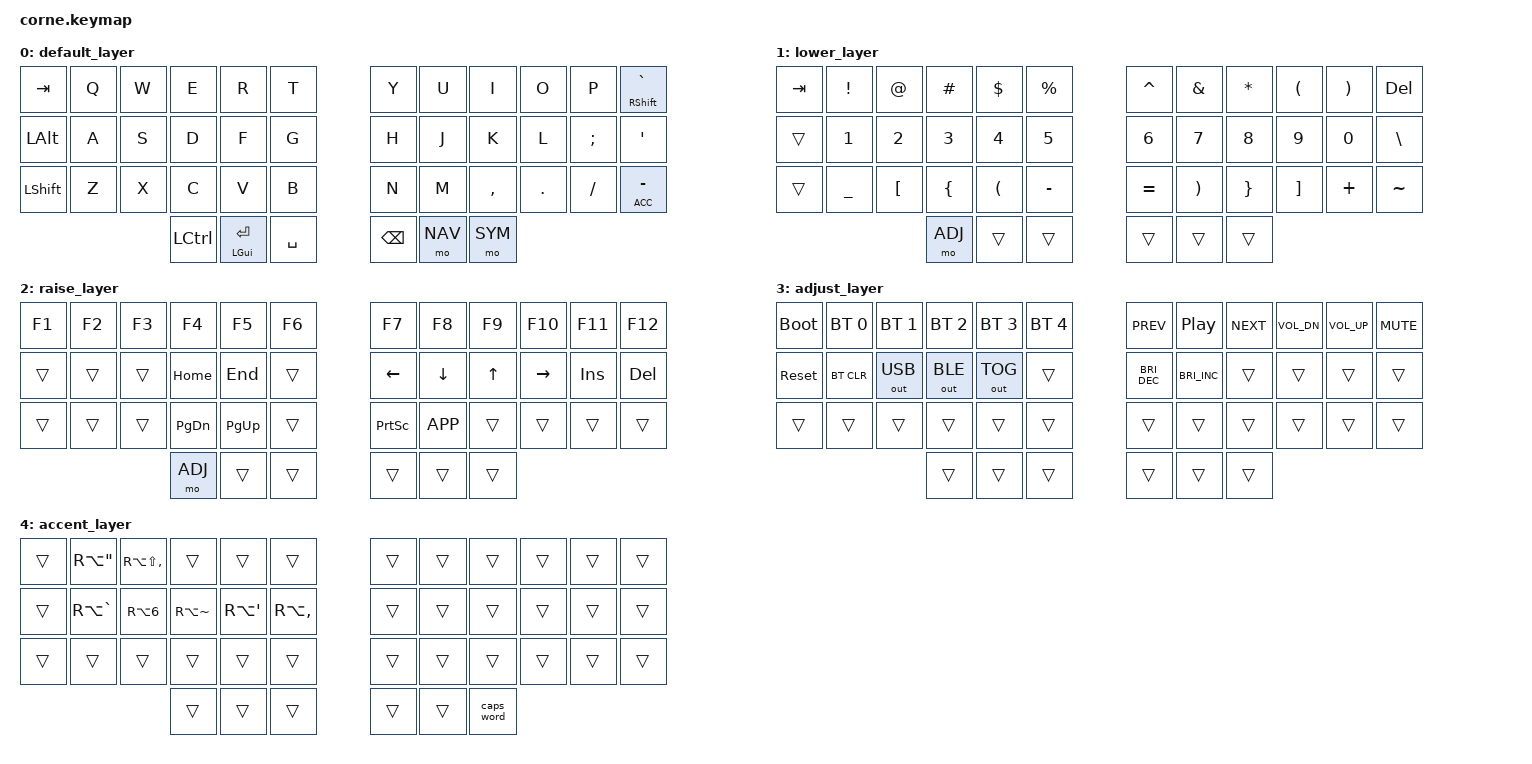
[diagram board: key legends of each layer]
/*
 * Copyright (c) 2020 The ZMK Contributors
 *
 * SPDX-License-Identifier: MIT
 *
 * Corne 42 teclas — pt-BR / Linux (niri) — VERSAO CONSOLIDADA
 * Sistema esperado: xkb layout "us", variant "altgr-intl"
 *
 * Polegares:  CTRL | GUI/Enter | ESPACO   ||   BKSP | NAV | SYM
 * Alt:        mindinho esquerdo, linha do meio
 *
 * Posicoes das teclas (para combos):
 *   0  1  2  3  4  5      6  7  8  9 10 11
 *  12 13 14 15 16 17     18 19 20 21 22 23
 *  24 25 26 27 28 29     30 31 32 33 34 35
 *        36 37 38        39 40 41
 */

#include <behaviors.dtsi>
#include <dt-bindings/zmk/bt.h>
#include <dt-bindings/zmk/keys.h>
#include <dt-bindings/zmk/outputs.h>

#define BASE 0
#define SYM  1
#define NAV  2
#define ADJ  3
#define ACC  4

/* Acentos pt-BR via AltGr — us(altgr-intl). Teclas mortas reais, sem macro. */

#define AGUDO  RA(SQT)        /* ´  -> a e i o u  */
#define GRAVE_ RA(GRAVE)      /* `  -> a (crase)  */
#define TIL    RA(TILDE)      /* ~  -> a o        */
#define CIRC   RA(N6)         /* ^  -> a e o      */
#define TREMA  RA(DQT)        /* "  -> u          */
#define CEDIL  RA(COMMA)      /* c  (direto)      */
#define CEDILC RA(LS(COMMA))  /* C  (direto)      */

/ {
    combos {
        compatible = "zmk,combos";

        combo_vim_esc {
            bindings = <&kp ESC>;
            key-positions = <19 20>;
        };
    };

    behaviors {
        lt_bal: layer_tap_balanced {
            compatible = "zmk,behavior-hold-tap";
            label = "LT_BAL";
            bindings = <&mo>, <&kp>;

            #binding-cells = <2>;
            flavor = "balanced";
            tapping-term-ms = <200>;
            quick-tap-ms = <175>;
            require-prior-idle-ms = <125>;
        };

        gui_ret: holdtap_gui_return {
            compatible = "zmk,behavior-hold-tap";
            label = "GUI_RET";
            bindings = <&kp>, <&kp>;

            #binding-cells = <2>;
            flavor = "hold-preferred";
            tapping-term-ms = <200>;
        };
    };

    keymap {
        compatible = "zmk,keymap";

        default_layer {
            // | ESC  | Q | W | E | R | T |   | Y | U | I | O | P | SFT/` |
            // | ALT  | A | S | D | F | G |   | H | J | K | L | ; |   '   |
            // | SHFT | Z | X | C | V | B |   | N | M | , | . | / | ACC/- |
            //              | CTRL | GUI/RET | ESPACO |   | BKSP | NAV | SYM |

            bindings = <
&kp TAB    &kp Q  &kp W  &kp E      &kp R              &kp T        &kp Y          &kp U    &kp I      &kp O    &kp P          &mt RSHFT GRAVE
&kp LALT   &kp A  &kp S  &kp D      &kp F              &kp G        &kp H          &kp J    &kp K      &kp L    &kp SEMICOLON  &kp SQT
&kp LSHFT  &kp Z  &kp X  &kp C      &kp V              &kp B        &kp N          &kp M    &kp COMMA  &kp DOT  &kp FSLH       &lt_bal ACC MINUS
                         &kp LCTRL  &gui_ret LGUI RET  &kp SPACE    &kp BACKSPACE  &mo NAV  &mo SYM
            >;
        };

        lower_layer {
            // | TAB | ! | @ | # | $ | % |   | ^ | & | * | ( | ) | DEL |
            // |     | 1 | 2 | 3 | 4 | 5 |   | 6 | 7 | 8 | 9 | 0 |  \  |
            // |     | _ | [ | { | ( | - |   | = | ) | } | ] | + |  ~  |

            bindings = <
&kp TAB  &kp EXCL   &kp AT    &kp HASH  &kp DLLR  &kp PRCNT    &kp CARET  &kp AMPS  &kp STAR  &kp LPAR  &kp RPAR  &kp DEL
&trans   &kp N1     &kp N2    &kp N3    &kp N4    &kp N5       &kp N6     &kp N7    &kp N8    &kp N9    &kp N0    &kp BSLH
&trans   &kp UNDER  &kp LBKT  &kp LBRC  &kp LPAR  &kp MINUS    &kp EQUAL  &kp RPAR  &kp RBRC  &kp RBKT  &kp PLUS  &kp TILDE
                              &mo ADJ   &trans    &trans       &trans     &trans    &trans
            >;
        };

        raise_layer {
            // | F1 | F2 | F3 | F4  | F5  | F6 |   | F7 | F8 | F9 |F10 |F11 |F12 |
            // |    |    |    |HOME | END |    |   |  < |  v |  ^ |  > |INS |DEL |
            // |    |    |    |PGDN |PGUP |    |   |PSCR|MENU|    |    |    |    |

            bindings = <
&kp F1  &kp F2  &kp F3  &kp F4         &kp F5       &kp F6    &kp F7           &kp F8     &kp F9  &kp F10    &kp F11     &kp F12
&trans  &trans  &trans  &kp HOME       &kp END      &trans    &kp LEFT         &kp DOWN   &kp UP  &kp RIGHT  &kp INSERT  &kp DEL
&trans  &trans  &trans  &kp PAGE_DOWN  &kp PAGE_UP  &trans    &kp PRINTSCREEN  &kp K_APP  &trans  &trans     &trans      &trans
                        &mo ADJ        &trans       &trans    &trans           &trans     &trans
            >;
        };

        adjust_layer {
            // Acesso: polegar esquerdo externo + NAV ou SYM.

            bindings = <
&bootloader  &bt BT_SEL 0  &bt BT_SEL 1  &bt BT_SEL 2  &bt BT_SEL 3  &bt BT_SEL 4    &kp C_PREV     &kp C_PLAY_PAUSE  &kp C_NEXT  &kp C_VOL_DN  &kp C_VOL_UP  &kp C_MUTE
&sys_reset   &bt BT_CLR    &out OUT_USB  &out OUT_BLE  &out OUT_TOG  &trans          &kp C_BRI_DEC  &kp C_BRI_INC     &trans      &trans        &trans        &trans
&trans       &trans        &trans        &trans        &trans        &trans          &trans         &trans            &trans      &trans        &trans        &trans
                                         &trans        &trans        &trans          &trans         &trans            &trans
            >;
        };

        accent_layer {
            // Segura o canto inferior direito. Mao esquerda toca o acento:
            //   A = `   S = ^   D = ~   F = ´   G = c-cedilha
            //   Q = trema   W = C-cedilha maiusculo

            bindings = <
&trans  &kp TREMA   &kp CEDILC  &trans   &trans     &trans       &trans  &trans  &trans      &trans  &trans  &trans
&trans  &kp GRAVE_  &kp CIRC    &kp TIL  &kp AGUDO  &kp CEDIL    &trans  &trans  &trans      &trans  &trans  &trans
&trans  &trans      &trans      &trans   &trans     &trans       &trans  &trans  &trans      &trans  &trans  &trans
                                &trans   &trans     &trans       &trans  &trans  &caps_word
            >;
        };
    };
};
